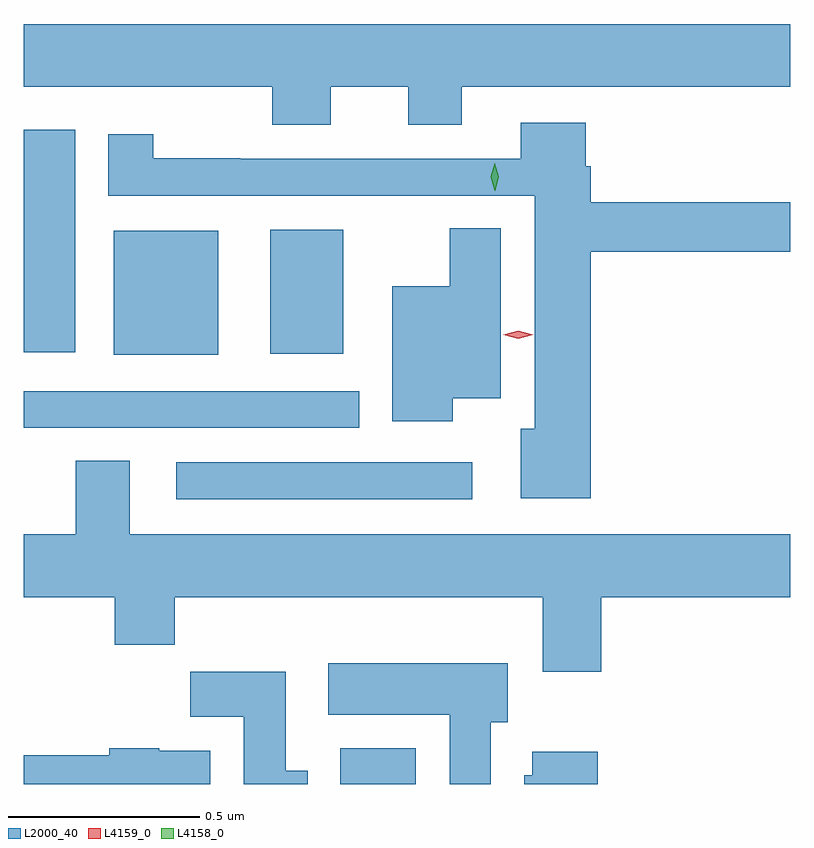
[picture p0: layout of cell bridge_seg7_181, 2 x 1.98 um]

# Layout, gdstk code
import gdstk
lib = gdstk.Library(unit=1e-6, precision=1e-09)
def R(c, l, rs):  # rectangles x0, y0, x1, y1
    for r in rs: c.add(gdstk.rectangle(r[:2], r[2:], *l))
def P(c, l, *ps):  # polygons
    for p in ps: c.add(gdstk.Polygon(p, *l))
L2000_40 = (2000, 40)
L4158_0 = (4158, 0)
L4159_0 = (4159, 0)

bridge_seg7_181 = lib.new_cell('bridge_seg7_181')
R(bridge_seg7_181, L2000_40, [(397.721,1040.089,397.918,1040.182), (397.293,1040.832,398.065,1040.928), (396.895,1041.018,397.771,1041.114), (397.13,1041.209,397.402,1041.532), (397.538,1041.212,397.729,1041.535), (396.895,1041.215,397.03,1041.796)])
P(bridge_seg7_181, L2000_40, [(397.696,1041.908),(397.898,1041.908),(397.898,1041.809),(398.038,1041.809),(398.038,1041.908),(398.895,1041.908),(398.895,1042.072),(396.895,1042.072),(396.895,1041.908),(397.544,1041.908),(397.544,1041.809),(397.696,1041.809)],
  [(398.375,1041.478),(398.895,1041.478),(398.895,1041.607),(398.375,1041.607),(398.375,1041.701),(398.362,1041.701),(398.362,1041.814),(398.192,1041.814),(398.192,1041.72),(397.46,1041.72),(397.46,1041.722),(397.233,1041.722),(397.233,1041.784),(397.115,1041.784),(397.115,1041.624),(398.228,1041.624),(398.228,1041.016),(398.192,1041.016),(398.192,1040.834),(398.375,1040.834)],
  [(398.014,1041.095),(398.14,1041.095),(398.14,1041.539),(398.006,1041.539),(398.006,1041.388),(397.856,1041.388),(397.856,1041.036),(398.014,1041.036)],
  [(398.402,1040.576),(398.895,1040.576),(398.895,1040.74),(397.171,1040.74),(397.171,1040.933),(397.031,1040.933),(397.031,1040.74),(396.895,1040.74),(396.895,1040.576),(397.133,1040.576),(397.133,1040.452),(397.289,1040.452),(397.289,1040.576),(398.249,1040.576),(398.249,1040.382),(398.402,1040.382)],
  [(398.113,1040.25),(398.158,1040.25),(398.158,1040.404),(397.689,1040.404),(397.689,1040.27),(398.006,1040.27),(398.006,1040.089),(398.113,1040.089)],
  [(397.636,1040.124),(397.579,1040.124),(397.579,1040.382),(397.33,1040.382),(397.33,1040.264),(397.469,1040.264),(397.469,1040.089),(397.636,1040.089)],
  [(397.381,1040.176),(397.248,1040.176),(397.248,1040.182),(397.118,1040.182),(397.118,1040.164),(396.895,1040.164),(396.895,1040.089),(397.381,1040.089)],
  [(398.393,1040.173),(398.222,1040.173),(398.222,1040.112),(398.201,1040.112),(398.201,1040.089),(398.393,1040.089)])
P(bridge_seg7_181, L4158_0, [(398.124,1041.637),(398.114,1041.673),(398.124,1041.709),(398.124,1041.709),(398.124,1041.709),(398.134,1041.673),(398.125,1041.637),(398.125,1041.637)])
P(bridge_seg7_181, L4159_0, [(398.185,1041.251),(398.146,1041.261),(398.146,1041.261),(398.146,1041.261),(398.185,1041.271),(398.224,1041.261),(398.224,1041.261),(398.224,1041.261)])

lib.write_gds('bridge_seg7_181.gds')
